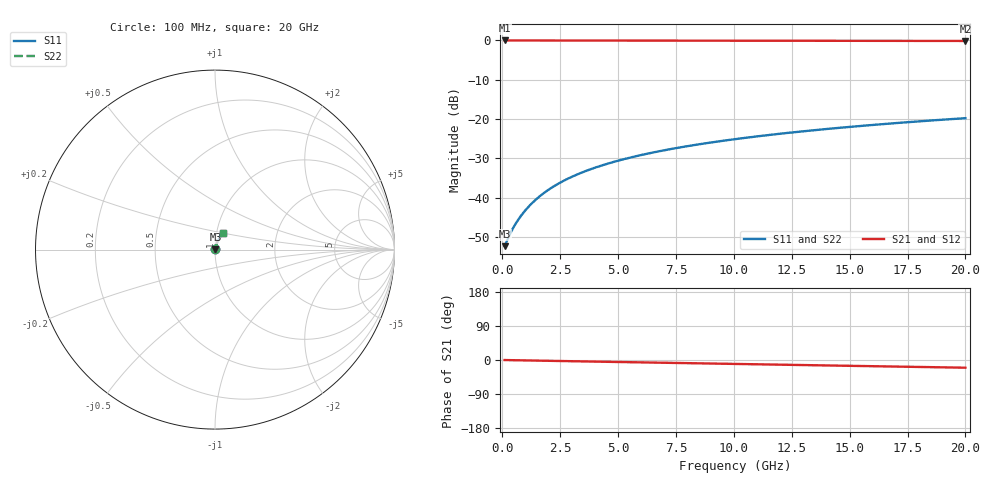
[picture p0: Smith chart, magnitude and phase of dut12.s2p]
! Touchstone file exported from HFSS 2026.1.0
!  File:  C:/ffzhzh/LocalFiles/Ansys_Project_Files/temp_train_BSMRDL_12_1782881914_43084.aedt
!  Generated:  12:59:41 PM Jul  1, 2026
!  Design:  BSMRDL
!  Project:  temp_train_BSMRDL_12_1782881914_43084
! Variables:
!  h_bsmrdl = 5.2um
!  h_ox = 20um
!  h_rdl = 5um
!  h_sub = 80um
!  h_tmrdl = 5um
!  h_tsv = 80um
!  h_via = 3um
!  l_bsmrdl = 351.36um
!  l_sub = 751.36um
!  l_tmrdl = 200um
!  m_sub = 200um
!  pitch = 18.48um
!  r_tsv = 6um
!  s_tmrdl = 10um
!  w_bsmrdl = 10.84um
!  w_sub = 500um
!  w_tmrdl = 12um
!  x_tsv_center1 = 206um
!  x_tsv_center2 = 568.2um
!  x_tsv_center3 = 780.2um
!  x_tsv_center4 = 1142.4um
!  x_tsv_center5 = 1354.4um
!  x_tsv_center6 = 1716.6um
# GHz S MA R 50.000000
! Terminal data exported
! Port[1] = BSM_RDL1_1_T1
! Port[2] = BSM_RDL1_1_T2
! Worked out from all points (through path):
!   200 points, 100 MHz to 20 GHz, reference 50 ohm
!   highest |S21| = -0.02 dB at 100 MHz (marker M1); lowest = -0.1 dB at 20 GHz (marker M2)
!   group delay of S21, straight-line fit = 2.81 ps
!   lowest |S11| = -52.3 dB at 100 MHz (marker M3), VSWR 1.00, Z = 50.2 + j0.0768 ohm
!   |S11| at or under -10 dB: start of sweep to end of sweep
!   |S22| runs from -52.3 to -19.8 dB; largest |S21 - S12| = 5.1e-15
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0.1  0.002428 18.3  0.9977 -0.1  0.9977 -0.1  0.002428 18.3
! Gamma 0 0 0 0
! Port Impedance 50 0 50 0
0.3  0.003302 40.0  0.9975 -0.3  0.9975 -0.3  0.003302 40.0
0.4  0.003795 46.1  0.9974 -0.4  0.9974 -0.4  0.003795 46.1
0.5  0.004296 50.7  0.9973 -0.6  0.9973 -0.6  0.004296 50.7
0.7  0.005327 57.5  0.9972 -0.8  0.9972 -0.8  0.005327 57.5
1  0.00695 64.1  0.997 -1.1  0.997 -1.1  0.00695 64.1
1.2  0.00807 66.9  0.997 -1.3  0.997 -1.3  0.00807 66.9
1.4  0.009209 69.0  0.9969 -1.5  0.9969 -1.5  0.009209 69.0
1.8  0.01152 71.8  0.9967 -1.9  0.9967 -1.9  0.01152 71.8
2.3  0.01442 73.6  0.9964 -2.5  0.9964 -2.5  0.01442 73.6
2.9  0.01788 74.7  0.996 -3.1  0.996 -3.1  0.01788 74.7
3.5  0.0213 75.0  0.9956 -3.7  0.9956 -3.7  0.0213 75.0
4.2  0.02522 75.1  0.9951 -4.4  0.9951 -4.4  0.02522 75.1
5  0.02961 74.8  0.9945 -5.3  0.9945 -5.3  0.02961 74.8
5.9  0.03443 74.3  0.9937 -6.2  0.9937 -6.2  0.03443 74.3
6.8  0.03915 73.7  0.993 -7.1  0.993 -7.1  0.03915 73.7
8.3  0.04684 72.7  0.9919 -8.6  0.9919 -8.6  0.04684 72.7
10.1  0.05585 71.4  0.9905 -10.5  0.9905 -10.5  0.05584 71.4
11.7  0.0637 70.2  0.9894 -12.1  0.9894 -12.1  0.0637 70.2
13.4  0.07193 68.9  0.9882 -13.8  0.9882 -13.8  0.07192 68.9
16.7  0.08756 66.2  0.9859 -17.1  0.9859 -17.1  0.08755 66.2
20  0.1027 63.4  0.9835 -20.3  0.9835 -20.3  0.1027 63.4
